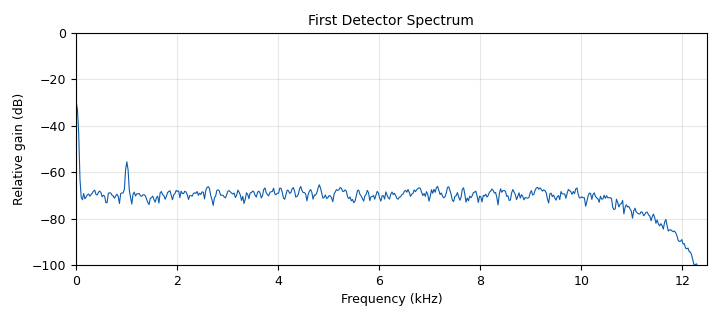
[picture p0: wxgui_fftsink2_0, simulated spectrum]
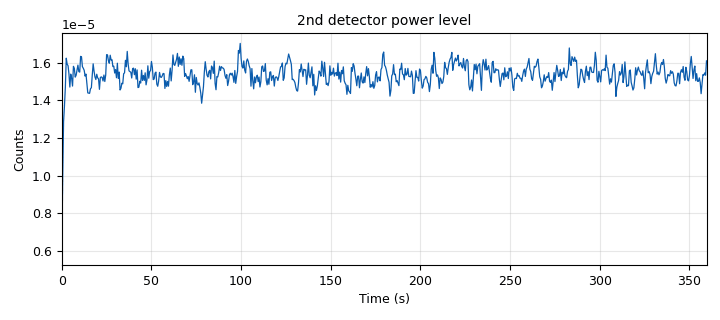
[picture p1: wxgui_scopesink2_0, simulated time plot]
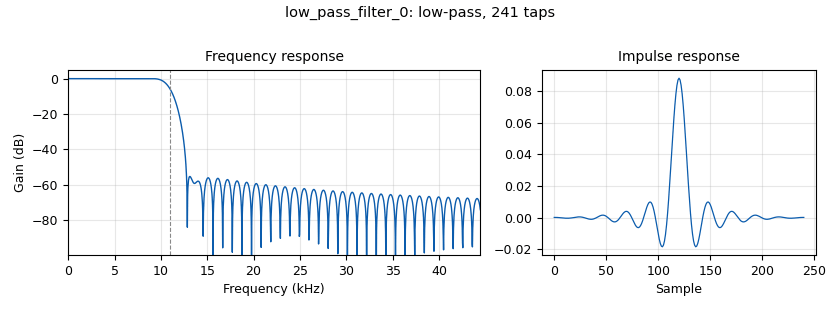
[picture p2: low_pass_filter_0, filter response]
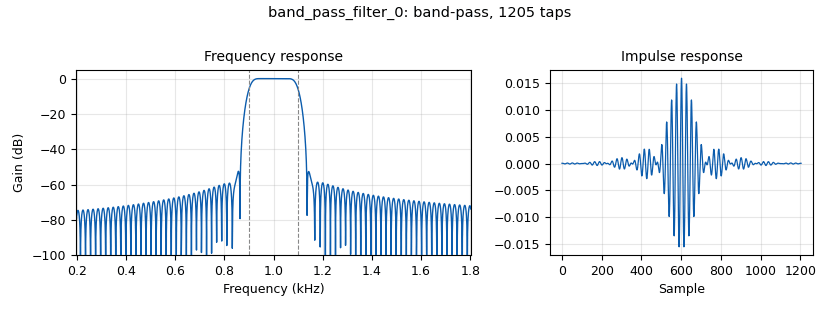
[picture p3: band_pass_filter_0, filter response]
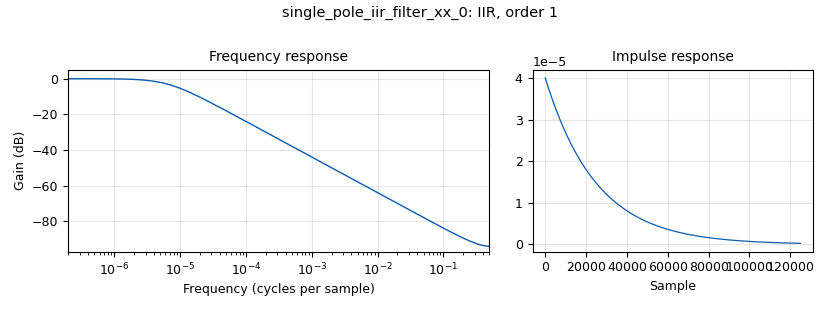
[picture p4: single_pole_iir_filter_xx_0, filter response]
<?xml version='1.0' encoding='utf-8'?>
<flow_graph>
<block>
<key>options</key>
<param><key>id</key><value>intensity_interferometer</value></param>
<param><key>generate_options</key><value>wx_gui</value></param>
<param><key>category</key><value>Custom</value></param>
</block>
<block>
<key>variable_slider</key>
<param><key>id</key><value>beat</value></param>
<param><key>label</key><value>Beat Frequency (kHz)</value></param>
<param><key>value</key><value>1</value></param>
<param><key>min</key><value>1</value></param>
<param><key>max</key><value>10</value></param>
<param><key>num_steps</key><value>100</value></param>
<param><key>style</key><value>wx.SL_HORIZONTAL</value></param>
<param><key>converver</key><value>float_converter</value></param>
</block>
<block>
<key>variable_slider</key>
<param><key>id</key><value>integ</value></param>
<param><key>label</key><value>Integration Time (Sec)</value></param>
<param><key>value</key><value>1</value></param>
<param><key>min</key><value>1</value></param>
<param><key>max</key><value>30</value></param>
<param><key>num_steps</key><value>100</value></param>
<param><key>style</key><value>wx.SL_HORIZONTAL</value></param>
<param><key>converver</key><value>float_converter</value></param>
</block>
<block>
<key>variable_slider</key>
<param><key>id</key><value>magnitude</value></param>
<param><key>label</key><value>Magnitude</value></param>
<param><key>value</key><value>0.05</value></param>
<param><key>min</key><value>0.05</value></param>
<param><key>max</key><value>0.5</value></param>
<param><key>num_steps</key><value>100</value></param>
<param><key>style</key><value>wx.SL_HORIZONTAL</value></param>
<param><key>converver</key><value>float_converter</value></param>
</block>
<block>
<key>blocks_add_xx</key>
<param><key>id</key><value>blocks_add_xx_0</value></param>
<param><key>type</key><value>complex</value></param>
<param><key>num_inputs</key><value>3</value></param>
</block>
<block>
<key>variable</key>
<param><key>id</key><value>samp_rate</value></param>
<param><key>value</key><value>250e3</value></param>
</block>
<block>
<key>low_pass_filter</key>
<param><key>id</key><value>low_pass_filter_0</value></param>
<param><key>type</key><value>fir_filter_fff</value></param>
<param><key>decim</key><value>int(samp_rate/25e3)</value></param>
<param><key>gain</key><value>1</value></param>
<param><key>samp_rate</key><value>samp_rate</value></param>
<param><key>cutoff_freq</key><value>11e3</value></param>
<param><key>width</key><value>2.5e3</value></param>
<param><key>win</key><value>firdes.WIN_HAMMING</value></param>
</block>
<block>
<key>blocks_throttle</key>
<param><key>id</key><value>blocks_throttle_0</value></param>
<param><key>type</key><value>float</value></param>
<param><key>samples_per_second</key><value>samp_rate</value></param>
</block>
<block>
<key>blocks_complex_to_mag_squared</key>
<param><key>id</key><value>blocks_complex_to_mag_squared_0</value></param>
</block>
<block>
<key>blocks_multiply_xx</key>
<param><key>id</key><value>blocks_multiply_xx_0</value></param>
<param><key>type</key><value>float</value></param>
</block>
<block>
<key>blocks_keep_one_in_n</key>
<param><key>id</key><value>blocks_keep_one_in_n_0</value></param>
<param><key>type</key><value>float</value></param>
<param><key>n</key><value>int(samp_rate/20)</value></param>
</block>
<block>
<key>single_pole_iir_filter_xx</key>
<param><key>id</key><value>single_pole_iir_filter_xx_0</value></param>
<param><key>type</key><value>float</value></param>
<param><key>alpha</key><value>1.0/((samp_rate/10)*integ)</value></param>
</block>
<block>
<key>band_pass_filter</key>
<param><key>id</key><value>band_pass_filter_0</value></param>
<param><key>type</key><value>fir_filter_fff</value></param>
<param><key>decim</key><value>1</value></param>
<param><key>gain</key><value>1</value></param>
<param><key>samp_rate</key><value>samp_rate/10</value></param>
<param><key>low_cutoff_freq</key><value>(beat*1000)-100</value></param>
<param><key>high_cutoff_freq</key><value>(beat*1000)+100</value></param>
<param><key>width</key><value>50</value></param>
<param><key>win</key><value>firdes.WIN_HAMMING</value></param>
</block>
<block>
<key>wxgui_fftsink2</key>
<param><key>id</key><value>wxgui_fftsink2_0</value></param>
<param><key>type</key><value>float</value></param>
<param><key>title</key><value>First Detector Spectrum</value></param>
<param><key>samp_rate</key><value>samp_rate/10</value></param>
<param><key>baseband_freq</key><value>0</value></param>
<param><key>y_per_div</key><value>10</value></param>
<param><key>y_divs</key><value>10</value></param>
<param><key>ref_level</key><value>0</value></param>
<param><key>ref_scale</key><value>2.0</value></param>
<param><key>fft_size</key><value>1024</value></param>
<param><key>fft_rate</key><value>8</value></param>
<param><key>peak_hold</key><value>False</value></param>
<param><key>average</key><value>True</value></param>
<param><key>avg_alpha</key><value>0.1</value></param>
<param><key>win</key><value>None</value></param>
<param><key>freqvar</key><value>None</value></param>
</block>
<block>
<key>analog_sig_source_x</key>
<param><key>id</key><value>analog_sig_source_x_0</value></param>
<param><key>type</key><value>complex</value></param>
<param><key>samp_rate</key><value>samp_rate</value></param>
<param><key>waveform</key><value>analog.GR_COS_WAVE</value></param>
<param><key>freq</key><value>122e3-(beat*1000)</value></param>
<param><key>amp</key><value>magnitude</value></param>
<param><key>offset</key><value>0</value></param>
</block>
<block>
<key>analog_sig_source_x</key>
<param><key>id</key><value>analog_sig_source_x_0_0</value></param>
<param><key>type</key><value>complex</value></param>
<param><key>samp_rate</key><value>samp_rate</value></param>
<param><key>waveform</key><value>analog.GR_COS_WAVE</value></param>
<param><key>freq</key><value>122e3</value></param>
<param><key>amp</key><value>magnitude</value></param>
<param><key>offset</key><value>0</value></param>
</block>
<block>
<key>analog_noise_source_x</key>
<param><key>id</key><value>analog_noise_source_x_0</value></param>
<param><key>type</key><value>complex</value></param>
<param><key>noise_type</key><value>analog.GR_GAUSSIAN</value></param>
<param><key>amp</key><value>0.2</value></param>
<param><key>seed</key><value>0</value></param>
</block>
<block>
<key>wxgui_scopesink2</key>
<param><key>id</key><value>wxgui_scopesink2_0</value></param>
<param><key>type</key><value>float</value></param>
<param><key>title</key><value>2nd detector power level</value></param>
<param><key>samp_rate</key><value>2</value></param>
<param><key>v_scale</key><value>0</value></param>
<param><key>v_offset</key><value>0</value></param>
<param><key>t_scale</key><value>450</value></param>
<param><key>ac_couple</key><value>False</value></param>
<param><key>xy_mode</key><value>False</value></param>
<param><key>num_inputs</key><value>1</value></param>
<param><key>trig_mode</key><value>gr.gr_TRIG_MODE_STRIPCHART</value></param>
<param><key>y_axis_label</key><value>Counts</value></param>
</block>
<connection><source_block_id>analog_noise_source_x_0</source_block_id><sink_block_id>blocks_add_xx_0</sink_block_id><source_key>0</source_key><sink_key>2</sink_key></connection>
<connection><source_block_id>analog_sig_source_x_0_0</source_block_id><sink_block_id>blocks_add_xx_0</sink_block_id><source_key>0</source_key><sink_key>1</sink_key></connection>
<connection><source_block_id>analog_sig_source_x_0</source_block_id><sink_block_id>blocks_add_xx_0</sink_block_id><source_key>0</source_key><sink_key>0</sink_key></connection>
<connection><source_block_id>blocks_add_xx_0</source_block_id><sink_block_id>blocks_complex_to_mag_squared_0</sink_block_id><source_key>0</source_key><sink_key>0</sink_key></connection>
<connection><source_block_id>blocks_complex_to_mag_squared_0</source_block_id><sink_block_id>blocks_throttle_0</sink_block_id><source_key>0</source_key><sink_key>0</sink_key></connection>
<connection><source_block_id>low_pass_filter_0</source_block_id><sink_block_id>band_pass_filter_0</sink_block_id><source_key>0</source_key><sink_key>0</sink_key></connection>
<connection><source_block_id>blocks_throttle_0</source_block_id><sink_block_id>low_pass_filter_0</sink_block_id><source_key>0</source_key><sink_key>0</sink_key></connection>
<connection><source_block_id>band_pass_filter_0</source_block_id><sink_block_id>blocks_multiply_xx_0</sink_block_id><source_key>0</source_key><sink_key>0</sink_key></connection>
<connection><source_block_id>band_pass_filter_0</source_block_id><sink_block_id>blocks_multiply_xx_0</sink_block_id><source_key>0</source_key><sink_key>1</sink_key></connection>
<connection><source_block_id>low_pass_filter_0</source_block_id><sink_block_id>wxgui_fftsink2_0</sink_block_id><source_key>0</source_key><sink_key>0</sink_key></connection>
<connection><source_block_id>blocks_multiply_xx_0</source_block_id><sink_block_id>single_pole_iir_filter_xx_0</sink_block_id><source_key>0</source_key><sink_key>0</sink_key></connection>
<connection><source_block_id>blocks_keep_one_in_n_0</source_block_id><sink_block_id>wxgui_scopesink2_0</sink_block_id><source_key>0</source_key><sink_key>0</sink_key></connection>
<connection><source_block_id>single_pole_iir_filter_xx_0</source_block_id><sink_block_id>blocks_keep_one_in_n_0</sink_block_id><source_key>0</source_key><sink_key>0</sink_key></connection>
</flow_graph>
